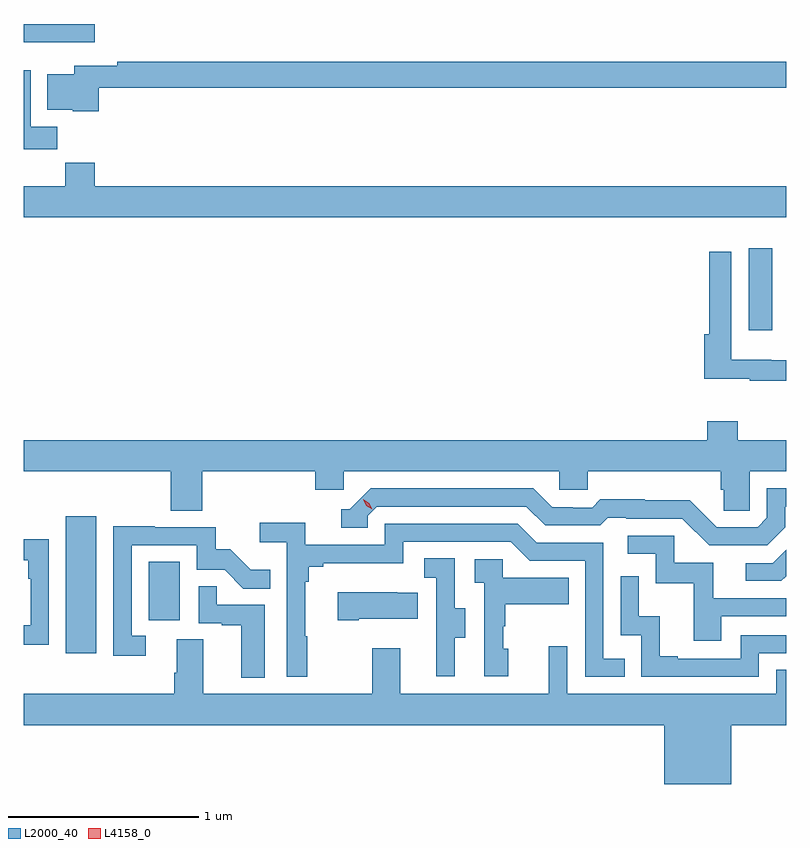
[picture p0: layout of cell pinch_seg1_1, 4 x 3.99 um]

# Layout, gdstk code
import gdstk
lib = gdstk.Library(unit=1e-6, precision=1e-09)
def R(c, l, rs):  # rectangles x0, y0, x1, y1
    for r in rs: c.add(gdstk.rectangle(r[:2], r[2:], *l))
def P(c, l, *ps):  # polygons
    for p in ps: c.add(gdstk.Polygon(p, *l))
L2000_40 = (2000, 40)
L4158_0 = (4158, 0)

pinch_seg1_1 = lib.new_cell('pinch_seg1_1')
R(pinch_seg1_1, L2000_40, [(1104.611,577.416,1104.772,578.137), (1105.046,577.59,1105.21,577.897), (1108.196,579.111,1108.318,579.541), (1104.391,580.622,1104.764,580.719)])
P(pinch_seg1_1, L2000_40, [(1104.784,580.384),(1108.391,580.384),(1108.391,580.52),(1104.88,580.52),(1104.88,580.5),(1104.656,580.5),(1104.656,580.456),(1104.515,580.456),(1104.515,580.268),(1104.648,580.268),(1104.648,580.262),(1104.784,580.262)],
  [(1104.566,580.18),(1104.427,580.18),(1104.427,580.477),(1104.391,580.477),(1104.391,580.062),(1104.566,580.062)],
  [(1108.391,579.868),(1104.764,579.868),(1104.764,579.992),(1104.607,579.992),(1104.607,579.868),(1104.391,579.868),(1104.391,579.704),(1108.391,579.704)],
  [(1108.391,578.955),(1108.314,578.955),(1108.314,578.956),(1108.104,578.956),(1108.104,579.523),(1107.988,579.523),(1107.988,579.091),(1107.962,579.091),(1107.962,578.857),(1108.201,578.857),(1108.201,578.847),(1108.391,578.847)],
  [(1105.328,578.372),(1105.919,578.372),(1105.919,578.274),(1106.07,578.274),(1106.07,578.372),(1107.201,578.372),(1107.201,578.274),(1107.351,578.274),(1107.351,578.372),(1108.049,578.372),(1108.049,578.274),(1108.063,578.274),(1108.063,578.164),(1108.2,578.164),(1108.2,578.372),(1108.391,578.372),(1108.391,578.536),(1108.137,578.536),(1108.137,578.635),(1107.977,578.635),(1107.977,578.536),(1104.391,578.536),(1104.391,578.372),(1105.163,578.372),(1105.163,578.164),(1105.328,578.164)],
  [(1108.387,578.077),(1108.387,578.187),(1108.391,578.187),(1108.391,578.283),(1108.29,578.283),(1108.29,578.127),(1108.242,578.079),(1108.026,578.079),(1107.884,578.221),(1107.648,578.221),(1107.648,578.224),(1107.415,578.224),(1107.373,578.181),(1107.27,578.181),(1107.27,578.184),(1107.163,578.184),(1107.064,578.283),(1106.211,578.283),(1106.1,578.172),(1106.057,578.172),(1106.057,578.076),(1106.196,578.076),(1106.196,578.139),(1106.244,578.187),(1107.027,578.187),(1107.126,578.088),(1107.415,578.088),(1107.454,578.127),(1107.553,578.127),(1107.553,578.124),(1107.846,578.124),(1107.987,577.983),(1108.293,577.983)],
  [(1105.879,577.505),(1105.867,577.505),(1105.867,577.793),(1105.886,577.793),(1105.886,577.87),(1105.963,577.87),(1105.963,577.889),(1106.382,577.889),(1106.382,578.001),(1106.946,578.001),(1107.045,577.902),(1107.336,577.902),(1107.336,577.293),(1107.545,577.293),(1107.545,577.389),(1107.432,577.389),(1107.432,577.998),(1107.082,577.998),(1106.983,578.097),(1106.286,578.097),(1106.286,577.986),(1105.868,577.986),(1105.868,578.102),(1105.629,578.102),(1105.629,578),(1105.77,578),(1105.77,577.293),(1105.879,577.293)],
  [(1105.03,577.509),(1104.957,577.509),(1104.957,577.983),(1105.299,577.983),(1105.299,577.854),(1105.444,577.854),(1105.542,577.756),(1105.685,577.756),(1105.685,577.855),(1105.581,577.855),(1105.474,577.962),(1105.398,577.962),(1105.398,578.079),(1105.079,578.079),(1105.079,578.084),(1104.861,578.084),(1104.861,577.404),(1105.03,577.404)],
  [(1108.051,577.611),(1108.391,577.611),(1108.391,577.707),(1108.009,577.707),(1108.009,577.893),(1107.804,577.893),(1107.804,578.034),(1107.561,578.034),(1107.561,577.938),(1107.708,577.938),(1107.708,577.785),(1107.907,577.785),(1107.907,577.482),(1108.051,577.482)],
  [(1104.522,578.014),(1104.391,578.014),(1104.391,577.904),(1104.413,577.904),(1104.413,577.808),(1104.426,577.808),(1104.426,577.563),(1104.391,577.563),(1104.391,577.462),(1104.522,577.462)],
  [(1108.391,577.822),(1108.391,577.961),(1108.32,577.89),(1108.179,577.89),(1108.179,577.797),(1108.366,577.797)],
  [(1106.653,577.498),(1106.707,577.498),(1106.707,577.653),(1106.652,577.653),(1106.652,577.916),(1106.493,577.916),(1106.493,577.813),(1106.556,577.813),(1106.556,577.509),(1106.555,577.509),(1106.555,577.296),(1106.653,577.296)],
  [(1106.932,577.44),(1106.907,577.44),(1106.907,577.559),(1106.917,577.559),(1106.917,577.673),(1107.251,577.673),(1107.251,577.813),(1106.904,577.813),(1106.904,577.911),(1106.757,577.911),(1106.757,577.787),(1106.808,577.787),(1106.808,577.296),(1106.932,577.296)],
  [(1108.248,577.416),(1108.391,577.416),(1108.391,577.512),(1108.152,577.512),(1108.152,577.389),(1107.823,577.389),(1107.823,577.402),(1107.728,577.402),(1107.728,577.61),(1107.618,577.61),(1107.618,577.822),(1107.522,577.822),(1107.522,577.512),(1107.63,577.512),(1107.63,577.293),(1108.248,577.293)],
  [(1105.654,577.671),(1105.403,577.671),(1105.403,577.769),(1105.308,577.769),(1105.308,577.575),(1105.429,577.575),(1105.429,577.563),(1105.532,577.563),(1105.532,577.289),(1105.654,577.289)],
  [(1106.149,577.598),(1106.459,577.598),(1106.459,577.735),(1106.351,577.735),(1106.351,577.738),(1106.037,577.738),(1106.037,577.591),(1106.149,577.591)],
  [(1108.102,577.04),(1108.391,577.04),(1108.391,577.331),(1108.338,577.331),(1108.338,577.204),(1107.243,577.204),(1107.243,577.453),(1107.146,577.453),(1107.146,577.204),(1106.365,577.204),(1106.365,577.444),(1106.218,577.444),(1106.218,577.204),(1105.333,577.204),(1105.333,577.49),(1105.193,577.49),(1105.193,577.316),(1105.181,577.316),(1105.181,577.204),(1104.391,577.204),(1104.391,577.04),(1107.752,577.04),(1107.752,576.731),(1108.102,576.731)])
P(pinch_seg1_1, L4158_0, [(1106.218,578.172),(1106.188,578.192),(1106.172,578.224),(1106.172,578.224),(1106.172,578.224),(1106.203,578.205),(1106.219,578.172),(1106.219,578.172)])

lib.write_gds('pinch_seg1_1.gds')
